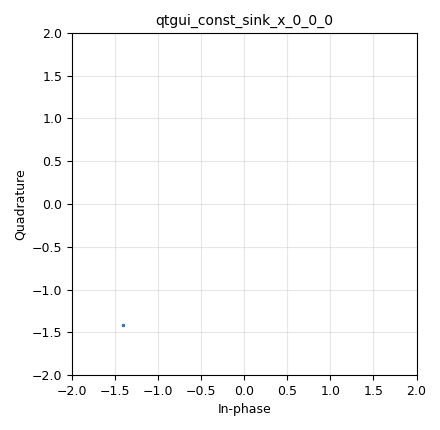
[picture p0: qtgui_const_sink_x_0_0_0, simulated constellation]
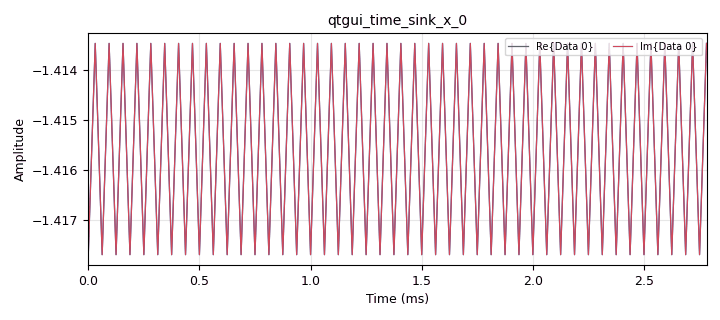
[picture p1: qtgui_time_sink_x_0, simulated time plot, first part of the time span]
options:
  parameters:
    author: yabool2001
    copyright: mzemlo.pl@gmail.com
    description: QPSK modulation nice visualisation with Pluto
    generate_options: qt_gui
    id: yabool2001_QPSK_mod_nice_visual_w_Pluto
    output_language: python
    title: QPSK modulation nice visualisation with Pluto
  states: {}

blocks:
- name: f_c
  id: variable
  parameters:
    value: '145000000'
  states: {}
- name: samp_rate
  id: variable
  parameters:
    value: '32000'
  states: {}
- name: samp_rate_Pluto
  id: variable
  parameters:
    value: '65105'
  states: {}
- name: variable_constellation_0
  id: variable_constellation
  parameters:
    precision: '8'
    type: qpsk
  states: {}
- name: blocks_repeat_0
  id: blocks_repeat
  parameters:
    interp: samp_rate_Pluto
    type: byte
  states: {}
- name: blocks_throttle2_0_0
  id: blocks_throttle2
  parameters:
    samples_per_second: samp_rate_Pluto
    type: byte
  states: {}
- name: blocks_vector_source_x_0_1
  id: blocks_vector_source_x
  parameters:
    repeat: 'True'
    type: byte
    vector: '[0,1,2,3]'
  states: {}
- name: digital_constellation_modulator_0
  id: digital_constellation_modulator
  parameters:
    constellation: variable_constellation_0
    differential: 'True'
    excess_bw: '0.35'
    samples_per_symbol: '2'
  states: {}
- name: iio_pluto_sink_0
  id: iio_pluto_sink
  parameters:
    attenuation1: '10.0'
    bandwidth: '20000000'
    buffer_size: '32768'
    cyclic: 'False'
    filter_source: '''Auto'''
    frequency: f_c
    samplerate: samp_rate_Pluto
    type: fc32
    uri: usb:2.3.5
  states: {}
- name: qtgui_const_sink_x_0_0_0
  id: qtgui_const_sink_x
  parameters:
    size: '1'
    type: complex
    update_time: '1'
  states: {}
- name: qtgui_time_sink_x_0
  id: qtgui_time_sink_x
  parameters:
    autoscale: 'True'
    size: '2048'
    srate: samp_rate
    type: complex
  states: {}

connections:
- [blocks_repeat_0, '0', digital_constellation_modulator_0, '0']
- [blocks_throttle2_0_0, '0', blocks_repeat_0, '0']
- [blocks_vector_source_x_0_1, '0', blocks_throttle2_0_0, '0']
- [digital_constellation_modulator_0, '0', iio_pluto_sink_0, '0']
- [digital_constellation_modulator_0, '0', qtgui_const_sink_x_0_0_0, '0']
- [digital_constellation_modulator_0, '0', qtgui_time_sink_x_0, '0']

metadata:
  file_format: 1
  grc_version: 3.10.10.0
